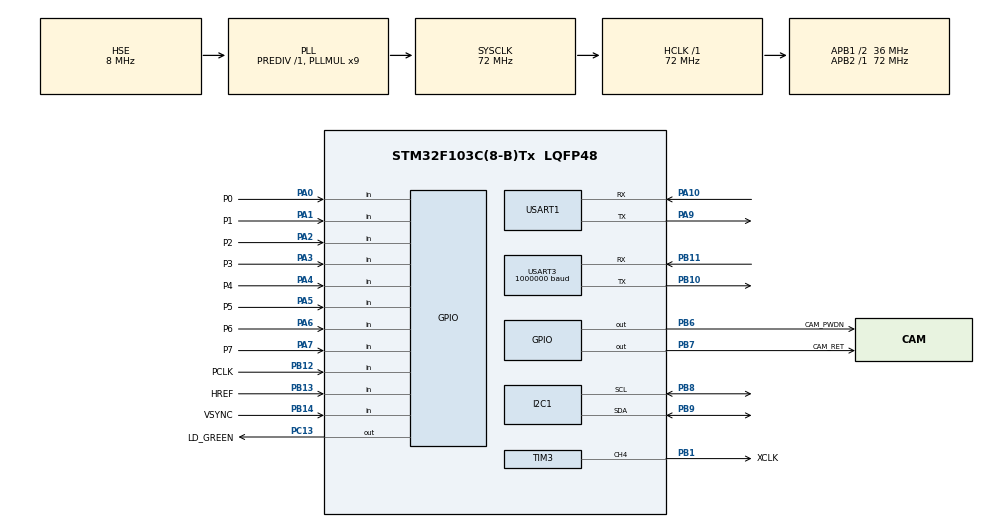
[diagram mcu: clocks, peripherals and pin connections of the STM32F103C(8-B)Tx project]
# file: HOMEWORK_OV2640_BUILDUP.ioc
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Dma.Request0=USART3_TX
Dma.USART3_TX.0.Direction=DMA_MEMORY_TO_PERIPH
Dma.USART3_TX.0.Instance=DMA1_Channel2
Dma.USART3_TX.0.MemDataAlignment=DMA_MDATAALIGN_BYTE
Dma.USART3_TX.0.MemInc=DMA_MINC_ENABLE
Dma.USART3_TX.0.Mode=DMA_NORMAL
Dma.USART3_TX.0.PeriphDataAlignment=DMA_PDATAALIGN_BYTE
Dma.USART3_TX.0.PeriphInc=DMA_PINC_DISABLE
Dma.USART3_TX.0.Priority=DMA_PRIORITY_LOW
I2C1.I2C_Mode=I2C_Standard
Mcu.Family=STM32F1
Mcu.Name=STM32F103C(8-B)Tx
Mcu.Package=LQFP48
NVIC.DMA1_Channel2_IRQn=true\:0\:0\:false\:false\:true\:false\:true
NVIC.PriorityGroup=NVIC_PRIORITYGROUP_4
NVIC.TIM1_BRK_IRQn=true\:0\:0\:false\:false\:true\:true\:true
NVIC.TIM1_CC_IRQn=true\:0\:0\:false\:false\:true\:true\:true
NVIC.TIM1_TRG_COM_IRQn=true\:0\:0\:false\:false\:true\:true\:true
NVIC.TIM1_UP_IRQn=true\:0\:0\:false\:false\:true\:true\:true
NVIC.USART1_IRQn=true\:0\:0\:false\:false\:true\:true\:true
NVIC.USART3_IRQn=true\:0\:0\:false\:false\:true\:true\:true
PA0-WKUP.GPIO_Label=P0
PA0-WKUP.GPIO_PuPd=GPIO_PULLDOWN
PA0-WKUP.Signal=GPIO_Input
PA1.GPIO_Label=P1
PA1.GPIO_PuPd=GPIO_PULLDOWN
PA1.Signal=GPIO_Input
PA10.Mode=Asynchronous
PA10.Signal=USART1_RX
PA13.Mode=Serial_Wire
PA13.Signal=SYS_JTMS-SWDIO
PA14.Mode=Serial_Wire
PA14.Signal=SYS_JTCK-SWCLK
PA2.GPIO_Label=P2
PA2.GPIO_PuPd=GPIO_PULLDOWN
PA2.Signal=GPIO_Input
PA3.GPIO_Label=P3
PA3.GPIO_PuPd=GPIO_PULLDOWN
PA3.Signal=GPIO_Input
PA4.GPIO_Label=P4
PA4.GPIO_PuPd=GPIO_PULLDOWN
PA4.Signal=GPIO_Input
PA5.GPIO_Label=P5
PA5.GPIO_PuPd=GPIO_PULLDOWN
PA5.Signal=GPIO_Input
PA6.GPIO_Label=P6
PA6.GPIO_PuPd=GPIO_PULLDOWN
PA6.Signal=GPIO_Input
PA7.GPIO_Label=P7
PA7.GPIO_PuPd=GPIO_PULLDOWN
PA7.Signal=GPIO_Input
PA9.Mode=Asynchronous
PA9.Signal=USART1_TX
PB1.GPIO_Label=XCLK
PB1.Signal=S_TIM3_CH4
PB10.Mode=Asynchronous
PB10.Signal=USART3_TX
PB11.Mode=Asynchronous
PB11.Signal=USART3_RX
PB12.GPIO_Label=PCLK
PB12.Signal=GPIO_Input
PB13.GPIO_Label=HREF
PB13.GPIO_PuPd=GPIO_NOPULL
PB13.Signal=GPIO_Input
PB14.GPIO_Label=VSYNC
PB14.GPIO_PuPd=GPIO_NOPULL
PB14.Signal=GPIO_Input
PB6.GPIO_Label=CAM_PWDN
PB6.Signal=GPIO_Output
PB7.GPIO_Label=CAM_RET
PB7.Signal=GPIO_Output
PB8.Mode=I2C
PB8.Signal=I2C1_SCL
PB9.Mode=I2C
PB9.Signal=I2C1_SDA
PC13-TAMPER-RTC.GPIO_Label=LD_GREEN
PC13-TAMPER-RTC.Signal=GPIO_Output
PC14-OSC32_IN.Mode=LSE-External-Oscillator
PC14-OSC32_IN.Signal=RCC_OSC32_IN
PC15-OSC32_OUT.Mode=LSE-External-Oscillator
PC15-OSC32_OUT.Signal=RCC_OSC32_OUT
PD0-OSC_IN.Mode=HSE-External-Oscillator
PD0-OSC_IN.Signal=RCC_OSC_IN
PD1-OSC_OUT.Mode=HSE-External-Oscillator
PD1-OSC_OUT.Signal=RCC_OSC_OUT
ProjectManager.HeapSize=0x200
ProjectManager.StackSize=0x400
ProjectManager.TargetToolchain=EWARM V8.32
RCC.AHBFreq_Value=72000000
RCC.APB1CLKDivider=RCC_HCLK_DIV2
RCC.APB1Freq_Value=36000000
RCC.APB1TimFreq_Value=72000000
RCC.APB2Freq_Value=72000000
RCC.APB2TimFreq_Value=72000000
RCC.HCLKFreq_Value=72000000
RCC.PLLMUL=RCC_PLL_MUL9
RCC.PLLSourceVirtual=RCC_PLLSOURCE_HSE
RCC.SYSCLKFreq_VALUE=72000000
RCC.SYSCLKSource=RCC_SYSCLKSOURCE_PLLCLK
RCC.USBFreq_Value=48000000
RCC.USBPrescaler=RCC_USBCLKSOURCE_PLL_DIV1_5
SH.S_TIM3_CH4.0=TIM3_CH4,PWM Generation4 CH4
TIM1.Period=2000-1
TIM1.Prescaler=36000
TIM3.Channel-PWM\ Generation4\ CH4=TIM_CHANNEL_4
TIM3.OCFastMode_PWM-PWM\ Generation4\ CH4=TIM_OCFAST_ENABLE
TIM3.Period=4-1
TIM3.Prescaler=9-1
TIM3.Pulse-PWM\ Generation4\ CH4=2
USART1.VirtualMode=VM_ASYNC
USART3.BaudRate=1000000
USART3.VirtualMode=VM_ASYNC
VP_TIM1_VS_ClockSourceINT.Mode=Internal
board=custom

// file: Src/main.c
/* USER CODE BEGIN Header */
/**
  ******************************************************************************
  * @file           : main.c
  * @brief          : Main program body
  ******************************************************************************
  * @attention
  *
  * <h2><center>&copy; Copyright (c) 2020 STMicroelectronics.
  * All rights reserved.</center></h2>
  *
  * This software component is licensed by ST under BSD 3-Clause license,
  * the "License"; You may not use this file except in compliance with the
  * License. You may obtain a copy of the License at:
  *                        opensource.org/licenses/BSD-3-Clause
  *
  ******************************************************************************
  */
/* USER CODE END Header */

#include "main.h"

/* USER CODE BEGIN Includes */

#include "stdio.h"
#include "ov2640_regs.h"
#include "string.h"

/* USER CODE END Includes */

I2C_HandleTypeDef hi2c1;

TIM_HandleTypeDef htim1;
TIM_HandleTypeDef htim3;

UART_HandleTypeDef huart1;
UART_HandleTypeDef huart3;
DMA_HandleTypeDef hdma_usart3_tx;

/* USER CODE BEGIN PV */

#ifdef __GNUC__
#define PUTCHAR_PROTOTYPE_PUT int __io_putchar(int ch)
#define PUTCHAR_PROTOTYPE_GET int __io_getchar(int ch)
#else
#define PUTCHAR_PROTOTYPE_PUT int fputc(int ch, FILE *f)
#define PUTCHAR_PROTOTYPE_GET int fgetc(FILE *f)
#endif

PUTCHAR_PROTOTYPE_PUT
{
  HAL_UART_Transmit(&huart1, (uint8_t*)&ch, 1, 0xFF);
  if(ch == '\n')
  {
    ch = '\r';
    HAL_UART_Transmit(&huart1, (uint8_t*)&ch, 1, 0xFF);
  }
  return ch;
}

PUTCHAR_PROTOTYPE_GET
{
  uint8_t ch;
  while( HAL_UART_Receive(&huart1, (uint8_t*)&ch, 1, 0xFFFF) != HAL_OK);
  return ch;
}

/* USER CODE END PV */

void SystemClock_Config(void);
static void MX_GPIO_Init(void);
static void MX_DMA_Init(void);
static void MX_I2C1_Init(void);
static void MX_USART1_UART_Init(void);
static void MX_TIM1_Init(void);
static void MX_TIM3_Init(void);
static void MX_USART3_UART_Init(void);

/* USER CODE BEGIN 0 */

volatile uint8_t timer1_periodelapsed=0;

void HAL_TIM_PeriodElapsedCallback(TIM_HandleTypeDef *htim)
{
  if(htim->Instance == htim1.Instance)
  {
    timer1_periodelapsed = 1;
  }
}

void ov2640_write_byte(uint8_t addr, uint8_t reg)
{
  if(HAL_I2C_Mem_Write(&hi2c1, 0x60, addr,1,&reg,1, 1000) != HAL_OK)
    Error_Handler();
}

void ov2640_read_byte(uint8_t addr, uint8_t *reg)
{
  if(HAL_I2C_Mem_Read(&hi2c1, 0x60, addr,1,reg,1, 1000) != HAL_OK)
    Error_Handler();
}

void ov2640_write_bytes(const struct regval_list *regs)
{
  while((regs->reg_num != 0xff) || (regs->value != 0xff))
  {
    ov2640_write_byte(regs->reg_num, regs->value);
    regs++;
  }
}

void ov2640_allreg_printout()
{
  int len = sizeof(dsp_table_validregaddr);
  ov2640_write_byte(0xFF,0x00);
  printf("DSP reg table 0xFF = 0: \n");
  for(int i=0;i<len;i++)
  {
    uint8_t addr = dsp_table_validregaddr[i];
    uint8_t reg = 0;
    ov2640_read_byte(addr, &reg);
    printf("%2d. \t0x%02x - 0x%02x\n", i+1, addr, reg);
  }
  len = sizeof(sensor_table_validregaddr);
  ov2640_write_byte(0xFF,0x01);
  printf("Sensor reg table 0xFF = 1: \n");
  for(int i=0;i<len;i++)
  {
    uint8_t addr = sensor_table_validregaddr[i];
    uint8_t reg = 0;
    ov2640_read_byte(addr, &reg);
    printf("%2d. \t0x%02x - 0x%02x\n", i+1, addr, reg);
  }
}

char debugging_string_buffer[256];
uint8_t image_capturing = 0;
uint8_t image_capture_toggle = 0;
uint8_t vsync_valid = 0;
uint8_t href_valid = 0;
uint8_t pclk_valid = 0;
uint8_t vsync_valid_past = 2;
uint8_t href_valid_past = 2;
uint32_t pclkavailability=0;
uint32_t href_cnting=0;
uint32_t href_cnt=0;
uint32_t pclk_cnting=0;
uint32_t pclk_cnt=0;
uint8_t frame_end = 0;
uint8_t frame_sttd= 0;

//uint8_t vsync_changed = 0;
//uint8_t href_changed = 0;

void EXTI15_10_IRQHandler(void)
{
  HAL_GPIO_EXTI_IRQHandler(PCLK_Pin);
//  HAL_GPIO_EXTI_IRQHandler(HREF_Pin);
//  HAL_GPIO_EXTI_IRQHandler(VSYNC_Pin);
}

void HAL_GPIO_EXTI_Callback(uint16_t GPIO_Pin)
{
  if(GPIO_Pin == PCLK_Pin)
  {
    pclk_valid=1;
  }
//  else if(GPIO_Pin == HREF_Pin)
//  {
//    href_changed=1;
//  }
//  else if(GPIO_Pin == VSYNC_Pin)
//  {
//    vsync_changed=1;
//  }
}

void ov2640_system_reset()
{
  OV2640_SEN_ENABLE;
  ov2640_write_byte(COM7, COM7_SRST);
  HAL_Delay(100);
}

void ov2640_init(uint8_t reset)
{
  if(reset)
  {
    CAM_RET_HIGH; HAL_Delay(100);
    CAM_PWDN_LOW; HAL_Delay(100);
    ov2640_system_reset();

    ov2640_write_bytes(ov2640_init_regs_v2);
    ov2640_write_bytes(ov2640_size_change_preamble_regs);
    ov2640_write_bytes(ov2640_uxga_regs);
//    ov2640_write_bytes(ov2640_format_change_preamble_regs);
//    ov2640_write_bytes(ov2640_yuyv_regs);
//    ov2640_write_bytes(ov2640_jpeg_regs);
//    OV2640_SEN_ENABLE;
//    uint8_t reg;
//    ov2640_read_byte(REG32, &reg);
//    reg |= 0xC0;
//    ov2640_write_byte(REG32, reg);
  }

  ov2640_allreg_printout();

  printf("enable exti\n");

  GPIO_InitTypeDef GPIO_InitStruct = {0};
  GPIO_InitStruct.Pin = PCLK_Pin;
  GPIO_InitStruct.Mode = GPIO_MODE_IT_RISING;
  GPIO_InitStruct.Pull = GPIO_NOPULL;
  HAL_GPIO_Init(PCLK_GPIO_Port, &GPIO_InitStruct);

//  GPIO_InitStruct.Pin = HREF_Pin;
//  GPIO_InitStruct.Mode = GPIO_MODE_IT_RISING_FALLING;
//  GPIO_InitStruct.Pull = GPIO_NOPULL;
//  HAL_GPIO_Init(PCLK_GPIO_Port, &GPIO_InitStruct);
//
//  GPIO_InitStruct.Pin = VSYNC_Pin;
//  GPIO_InitStruct.Mode = GPIO_MODE_IT_RISING_FALLING;
//  GPIO_InitStruct.Pull = GPIO_NOPULL;
//  HAL_GPIO_Init(PCLK_GPIO_Port, &GPIO_InitStruct);

  HAL_NVIC_SetPriority(EXTI15_10_IRQn, 0, 0);
  HAL_NVIC_EnableIRQ(EXTI15_10_IRQn);

}

#define uart3_packet_pdata_len 1600
uint8_t uart3_packet_pdata[uart3_packet_pdata_len];
uint8_t uart3_packet_pdata_txbuf[uart3_packet_pdata_len];
volatile uint8_t uart3_tx_done = 0;
volatile uint8_t uart3_rx_done = 0;
uint8_t uart3_rx_char = 0;

void HAL_UART_TxCpltCallback(UART_HandleTypeDef *huart)
{
  if(huart->Instance == huart3.Instance)
  {
    uart3_tx_done = 1;
  }
}

void HAL_UART_RxCpltCallback(UART_HandleTypeDef *huart)
{
  if(huart->Instance == huart3.Instance)
  {
    uart3_rx_done = 1;
  }
}

void uart3_rx_char_rcv_it()
{
  HAL_UART_Receive_IT(&huart3, &uart3_rx_char, 1);
}

#define jpeg_frame_data_len 4*1024
uint8_t jpeg_frame_data[jpeg_frame_data_len];
uint8_t jpeg_frame_data_txbuf[jpeg_frame_data_len];
uint32_t jpeg_frame_data_index=0;
uint32_t jpeg_frame_data_size_report=0;

/* USER CODE END 0 */

int main(void)
{

  /* MCU Configuration--------------------------------------------------------*/

  /* Reset of all peripherals, Initializes the Flash interface and the Systick. */
  HAL_Init();

  /* Configure the system clock */
  SystemClock_Config();

  /* Initialize all configured peripherals */
  MX_GPIO_Init();
  MX_DMA_Init();
  MX_I2C1_Init();
  MX_USART1_UART_Init();
  MX_TIM1_Init();
  MX_TIM3_Init();
  MX_USART3_UART_Init();

  /* Infinite loop */
  /* USER CODE BEGIN WHILE */

  ov2640_init(1);
  LD_GREEN_HIGH;

  uart3_tx_done=1;
  uart3_rx_char_rcv_it();
  while (1)
  {
    /* USER CODE END WHILE */

    /* USER CODE BEGIN 3 */

    if(uart3_rx_done)
    {
      uart3_rx_done=0;

      if(uart3_rx_char == 'a')
      {
        image_capture_toggle = 1;
        LD_GREEN_LOW;
      }
      uart3_rx_char_rcv_it();
    }

    if(uart3_tx_done)
    {
      uart3_tx_done=0;
    }

    if(pclk_valid)
    {
      pclk_valid=0;
      pclkavailability++;

      href_valid = HAL_GPIO_ReadPin(HREF_GPIO_Port, HREF_Pin);
      vsync_valid = HAL_GPIO_ReadPin(VSYNC_GPIO_Port, VSYNC_Pin);

      if(!vsync_valid)
      {
        if(!href_valid&&href_valid_past) // line ended
        {
          pclk_cnt = pclk_cnting;
          pclk_cnting=0;

          if(image_capturing)
          {
            memcpy(uart3_packet_pdata_txbuf, uart3_packet_pdata, sizeof(uart3_packet_pdata_txbuf));
            HAL_UART_Transmit_DMA(&huart3, uart3_packet_pdata_txbuf, uart3_packet_pdata_len);
          }
        }
        else if(href_valid&&!href_valid_past) // line started
        {
          href_cnting++;
        }

        if(href_valid) // valid line
        {
          uart3_packet_pdata[pclk_cnting] = GPIOA->IDR & 0xFF;
          if((pclk_cnting)<uart3_packet_pdata_len-1)
            pclk_cnting++;
        }
      }

      if(vsync_valid&&!vsync_valid_past) // frame ended
      {
        href_cnt = href_cnting;
        href_cnting=0;

        frame_end = 1;
        image_capturing = 0;
        LD_GREEN_HIGH;
      }
      else if(!vsync_valid&&vsync_valid_past) // frame started
      {
        image_capturing = image_capture_toggle;
        image_capture_toggle = 0; // once erase this line to maintain past action
      }

      href_valid_past=href_valid;
      vsync_valid_past=vsync_valid;
    }

    if(frame_end)
    {
      frame_end=0;

      sprintf(debugging_string_buffer, "\n\rLine Ended:%4d\r\n",href_cnt);
      HAL_UART_Transmit_IT(&huart1, (uint8_t*)debugging_string_buffer, strlen(debugging_string_buffer));
    }

    if(timer1_periodelapsed)
    {
      timer1_periodelapsed=0;
      sprintf(debugging_string_buffer, "\rh:%4d,w:%4d:pclk:%5d,%c", href_cnting,pclk_cnt,pclkavailability,image_capturing ? '*' : ' ');
      HAL_UART_Transmit_IT(&huart1, (uint8_t*)debugging_string_buffer, strlen(debugging_string_buffer));
      pclkavailability=0;
    }

  }
  /* USER CODE END 3 */
}

void SystemClock_Config(void)
{
  RCC_OscInitTypeDef RCC_OscInitStruct = {0};
  RCC_ClkInitTypeDef RCC_ClkInitStruct = {0};

  /** Initializes the CPU, AHB and APB busses clocks
  */
  RCC_OscInitStruct.OscillatorType = RCC_OSCILLATORTYPE_HSE;
  RCC_OscInitStruct.HSEState = RCC_HSE_ON;
  RCC_OscInitStruct.HSEPredivValue = RCC_HSE_PREDIV_DIV1;
  RCC_OscInitStruct.HSIState = RCC_HSI_ON;
  RCC_OscInitStruct.PLL.PLLState = RCC_PLL_ON;
  RCC_OscInitStruct.PLL.PLLSource = RCC_PLLSOURCE_HSE;
  RCC_OscInitStruct.PLL.PLLMUL = RCC_PLL_MUL9;
  if (HAL_RCC_OscConfig(&RCC_OscInitStruct) != HAL_OK)
  {
    Error_Handler();
  }
  /** Initializes the CPU, AHB and APB busses clocks
  */
  RCC_ClkInitStruct.ClockType = RCC_CLOCKTYPE_HCLK|RCC_CLOCKTYPE_SYSCLK
                              |RCC_CLOCKTYPE_PCLK1|RCC_CLOCKTYPE_PCLK2;
  RCC_ClkInitStruct.SYSCLKSource = RCC_SYSCLKSOURCE_PLLCLK;
  RCC_ClkInitStruct.AHBCLKDivider = RCC_SYSCLK_DIV1;
  RCC_ClkInitStruct.APB1CLKDivider = RCC_HCLK_DIV2;
  RCC_ClkInitStruct.APB2CLKDivider = RCC_HCLK_DIV1;

  if (HAL_RCC_ClockConfig(&RCC_ClkInitStruct, FLASH_LATENCY_2) != HAL_OK)
  {
    Error_Handler();
  }
}

static void MX_I2C1_Init(void)
{

  hi2c1.Instance = I2C1;
  hi2c1.Init.ClockSpeed = 100000;
  hi2c1.Init.DutyCycle = I2C_DUTYCYCLE_2;
  hi2c1.Init.OwnAddress1 = 0;
  hi2c1.Init.AddressingMode = I2C_ADDRESSINGMODE_7BIT;
  hi2c1.Init.DualAddressMode = I2C_DUALADDRESS_DISABLE;
  hi2c1.Init.OwnAddress2 = 0;
  hi2c1.Init.GeneralCallMode = I2C_GENERALCALL_DISABLE;
  hi2c1.Init.NoStretchMode = I2C_NOSTRETCH_DISABLE;
  if (HAL_I2C_Init(&hi2c1) != HAL_OK)
  {
    Error_Handler();
  }

}

static void MX_TIM1_Init(void)
{

  TIM_ClockConfigTypeDef sClockSourceConfig = {0};
  TIM_MasterConfigTypeDef sMasterConfig = {0};

  htim1.Instance = TIM1;
  htim1.Init.Prescaler = 36000;
  htim1.Init.CounterMode = TIM_COUNTERMODE_UP;
  htim1.Init.Period = 2000-1;
  htim1.Init.ClockDivision = TIM_CLOCKDIVISION_DIV1;
  htim1.Init.RepetitionCounter = 0;
  htim1.Init.AutoReloadPreload = TIM_AUTORELOAD_PRELOAD_DISABLE;
  if (HAL_TIM_Base_Init(&htim1) != HAL_OK)
  {
    Error_Handler();
  }
  sClockSourceConfig.ClockSource = TIM_CLOCKSOURCE_INTERNAL;
  if (HAL_TIM_ConfigClockSource(&htim1, &sClockSourceConfig) != HAL_OK)
  {
    Error_Handler();
  }
  sMasterConfig.MasterOutputTrigger = TIM_TRGO_RESET;
  sMasterConfig.MasterSlaveMode = TIM_MASTERSLAVEMODE_DISABLE;
  if (HAL_TIMEx_MasterConfigSynchronization(&htim1, &sMasterConfig) != HAL_OK)
  {
    Error_Handler();
  }
  /* USER CODE BEGIN TIM1_Init 2 */

  HAL_TIM_Base_Start_IT(&htim1);

  /* USER CODE END TIM1_Init 2 */

}

static void MX_TIM3_Init(void)
{

  TIM_MasterConfigTypeDef sMasterConfig = {0};
  TIM_OC_InitTypeDef sConfigOC = {0};

  htim3.Instance = TIM3;
  htim3.Init.Prescaler = 9-1;
  htim3.Init.CounterMode = TIM_COUNTERMODE_UP;
  htim3.Init.Period = 4-1;
  htim3.Init.ClockDivision = TIM_CLOCKDIVISION_DIV1;
  htim3.Init.AutoReloadPreload = TIM_AUTORELOAD_PRELOAD_DISABLE;
  if (HAL_TIM_PWM_Init(&htim3) != HAL_OK)
  {
    Error_Handler();
  }
  sMasterConfig.MasterOutputTrigger = TIM_TRGO_RESET;
  sMasterConfig.MasterSlaveMode = TIM_MASTERSLAVEMODE_DISABLE;
  if (HAL_TIMEx_MasterConfigSynchronization(&htim3, &sMasterConfig) != HAL_OK)
  {
    Error_Handler();
  }
  sConfigOC.OCMode = TIM_OCMODE_PWM1;
  sConfigOC.Pulse = 2;
  sConfigOC.OCPolarity = TIM_OCPOLARITY_HIGH;
  sConfigOC.OCFastMode = TIM_OCFAST_ENABLE;
  if (HAL_TIM_PWM_ConfigChannel(&htim3, &sConfigOC, TIM_CHANNEL_4) != HAL_OK)
  {
    Error_Handler();
  }
  /* USER CODE BEGIN TIM3_Init 2 */

  HAL_TIM_PWM_Start(&htim3,TIM_CHANNEL_4);

  /* USER CODE END TIM3_Init 2 */
  HAL_TIM_MspPostInit(&htim3);

}

static void MX_USART1_UART_Init(void)
{

  huart1.Instance = USART1;
  huart1.Init.BaudRate = 115200;
  huart1.Init.WordLength = UART_WORDLENGTH_8B;
  huart1.Init.StopBits = UART_STOPBITS_1;
  huart1.Init.Parity = UART_PARITY_NONE;
  huart1.Init.Mode = UART_MODE_TX_RX;
  huart1.Init.HwFlowCtl = UART_HWCONTROL_NONE;
  huart1.Init.OverSampling = UART_OVERSAMPLING_16;
  if (HAL_UART_Init(&huart1) != HAL_OK)
  {
    Error_Handler();
  }

}

static void MX_USART3_UART_Init(void)
{

  huart3.Instance = USART3;
  huart3.Init.BaudRate = 1000000;
  huart3.Init.WordLength = UART_WORDLENGTH_8B;
  huart3.Init.StopBits = UART_STOPBITS_1;
  huart3.Init.Parity = UART_PARITY_NONE;
  huart3.Init.Mode = UART_MODE_TX_RX;
  huart3.Init.HwFlowCtl = UART_HWCONTROL_NONE;
  huart3.Init.OverSampling = UART_OVERSAMPLING_16;
  if (HAL_UART_Init(&huart3) != HAL_OK)
  {
    Error_Handler();
  }

}

static void MX_DMA_Init(void)
{

  /* DMA controller clock enable */
  __HAL_RCC_DMA1_CLK_ENABLE();

  /* DMA interrupt init */
  /* DMA1_Channel2_IRQn interrupt configuration */
  HAL_NVIC_SetPriority(DMA1_Channel2_IRQn, 0, 0);
  HAL_NVIC_EnableIRQ(DMA1_Channel2_IRQn);

}

static void MX_GPIO_Init(void)
{
  GPIO_InitTypeDef GPIO_InitStruct = {0};

  /* GPIO Ports Clock Enable */
  __HAL_RCC_GPIOC_CLK_ENABLE();
  __HAL_RCC_GPIOD_CLK_ENABLE();
  __HAL_RCC_GPIOA_CLK_ENABLE();
  __HAL_RCC_GPIOB_CLK_ENABLE();

  /*Configure GPIO pin Output Level */
  HAL_GPIO_WritePin(LD_GREEN_GPIO_Port, LD_GREEN_Pin, GPIO_PIN_RESET);

  /*Configure GPIO pin Output Level */
  HAL_GPIO_WritePin(GPIOB, CAM_PWDN_Pin|CAM_RET_Pin, GPIO_PIN_RESET);

  /*Configure GPIO pin : LD_GREEN_Pin */
  GPIO_InitStruct.Pin = LD_GREEN_Pin;
  GPIO_InitStruct.Mode = GPIO_MODE_OUTPUT_PP;
  GPIO_InitStruct.Pull = GPIO_NOPULL;
  GPIO_InitStruct.Speed = GPIO_SPEED_FREQ_LOW;
  HAL_GPIO_Init(LD_GREEN_GPIO_Port, &GPIO_InitStruct);

  /*Configure GPIO pins : P0_Pin P1_Pin P2_Pin P3_Pin
                           P4_Pin P5_Pin P6_Pin P7_Pin */
  GPIO_InitStruct.Pin = P0_Pin|P1_Pin|P2_Pin|P3_Pin
                          |P4_Pin|P5_Pin|P6_Pin|P7_Pin;
  GPIO_InitStruct.Mode = GPIO_MODE_INPUT;
  GPIO_InitStruct.Pull = GPIO_PULLDOWN;
  HAL_GPIO_Init(GPIOA, &GPIO_InitStruct);

  /*Configure GPIO pins : PCLK_Pin HREF_Pin VSYNC_Pin */
  GPIO_InitStruct.Pin = PCLK_Pin|HREF_Pin|VSYNC_Pin;
  GPIO_InitStruct.Mode = GPIO_MODE_INPUT;
  GPIO_InitStruct.Pull = GPIO_NOPULL;
  HAL_GPIO_Init(GPIOB, &GPIO_InitStruct);

  /*Configure GPIO pins : CAM_PWDN_Pin CAM_RET_Pin */
  GPIO_InitStruct.Pin = CAM_PWDN_Pin|CAM_RET_Pin;
  GPIO_InitStruct.Mode = GPIO_MODE_OUTPUT_PP;
  GPIO_InitStruct.Pull = GPIO_NOPULL;
  GPIO_InitStruct.Speed = GPIO_SPEED_FREQ_LOW;
  HAL_GPIO_Init(GPIOB, &GPIO_InitStruct);

}

void Error_Handler(void)
{
  /* USER CODE BEGIN Error_Handler_Debug */
  /* User can add his own implementation to report the HAL error return state */
  uint8_t n=10;
  CAM_RET_LOW;
  while(n--)
  {
      HAL_Delay(50);
      HAL_GPIO_TogglePin(LD_GREEN_GPIO_Port, LD_GREEN_Pin);
  }
  CAM_RET_HIGH;
  printf("stm32 system reset\n");
  NVIC_SystemReset();
  /* USER CODE END Error_Handler_Debug */
}

/************************ (C) COPYRIGHT STMicroelectronics *****END OF FILE****/
